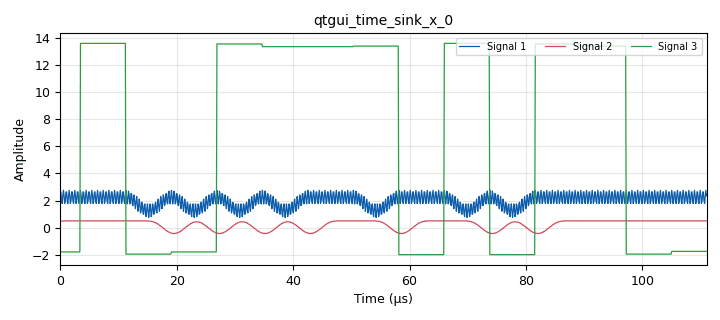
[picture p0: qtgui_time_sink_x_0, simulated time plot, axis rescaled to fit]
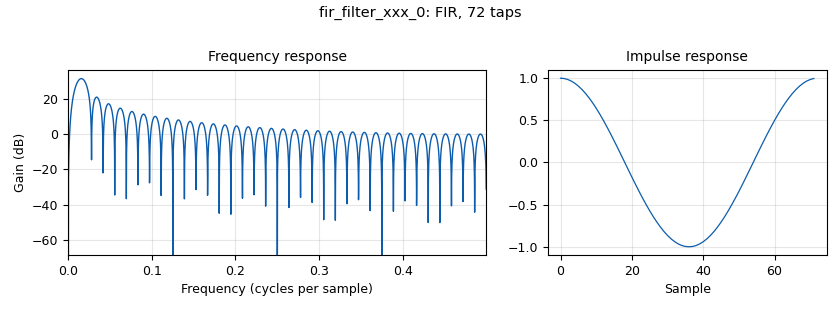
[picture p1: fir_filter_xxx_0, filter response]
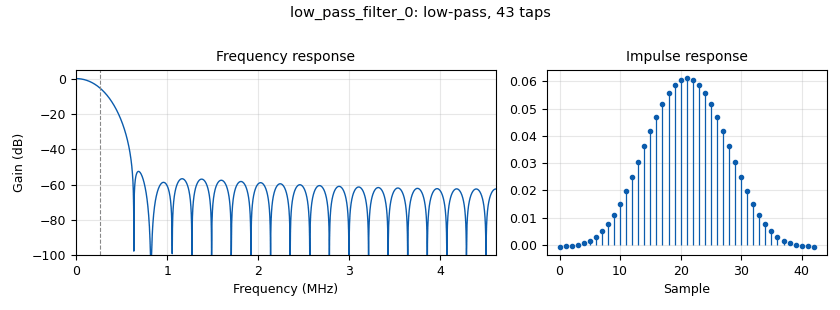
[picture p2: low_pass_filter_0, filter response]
options:
  parameters:
    generate_options: qt_gui
    id: untitled
    output_language: python
    title: Passband spectrum
  states: {}

blocks:
- name: f0
  id: variable
  parameters:
    value: '8'
  states: {}
- name: f1
  id: variable
  parameters:
    value: '9'
  states: {}
- name: samp_rate
  id: variable
  parameters:
    value: '9216000'
  states: {}
- name: analog_random_source_x_0
  id: analog_random_source_x
  parameters:
    max: '2'
    min: '0'
    num_samps: '10000'
    repeat: 'True'
    type: byte
  states: {}
- name: blocks_add_const_vxx_0
  id: blocks_add_const_vxx
  parameters:
    const: '1.75'
    type: float
  states: {}
- name: blocks_add_const_vxx_1
  id: blocks_add_const_vxx
  parameters:
    const: '-1.75'
    type: float
  states: {}
- name: blocks_delay_0
  id: blocks_delay
  parameters:
    delay: '54'
    type: float
  states: {}
- name: blocks_delay_1
  id: blocks_delay
  parameters:
    delay: '19'
    type: float
  states: {}
- name: blocks_multiply_xx_0
  id: blocks_multiply_xx
  parameters:
    type: float
  states: {}
- name: blocks_repeat_0
  id: blocks_repeat
  parameters:
    interp: '72'
    type: float
  states: {}
- name: blocks_throttle2_0
  id: blocks_throttle2
  parameters:
    samples_per_second: samp_rate
    type: float
  states: {}
- name: blocks_vector_source_x_1
  id: blocks_vector_source_x
  parameters:
    repeat: 'True'
    type: float
    vector: np.cos(2*np.pi*np.arange(0,9)/9)
  states: {}
- name: digital_chunks_to_symbols_xx_0
  id: digital_chunks_to_symbols_xx
  parameters:
    dimension: '72'
    in_type: byte
    out_type: float
    symbol_table: ' np.concatenate((np.cos(2*np.pi*f0*np.arange(0,72)/72),np.cos(2*np.pi*f1*np.arange(0,72)/72)))'
  states: {}
- name: fir_filter_xxx_0
  id: fir_filter_xxx
  parameters:
    decim: '72'
    taps: np.cos(2*np.pi*np.arange(0,72)/72)
    type: fff
  states: {}
- name: import_0
  id: import
  parameters:
    imports: import numpy as np
  states: {}
- name: low_pass_filter_0
  id: low_pass_filter
  parameters:
    cutoff_freq: '256000'
    decim: '1'
    gain: '1'
    samp_rate: samp_rate
    type: fir_filter_fff
    width: '512000'
    win: window.WIN_HAMMING
  states: {}
- name: qtgui_time_sink_x_0
  id: qtgui_time_sink_x
  parameters:
    nconnections: '3'
    size: '1024'
    srate: '9216000'
    type: float
  states: {}
- name: virtual_sink_0
  id: virtual_sink
  parameters:
    stream_id: fsktx
  states: {}
- name: virtual_source_0
  id: virtual_source
  parameters:
    stream_id: fsktx
  states: {}

connections:
- [analog_random_source_x_0, '0', digital_chunks_to_symbols_xx_0, '0']
- [blocks_add_const_vxx_0, '0', qtgui_time_sink_x_0, '0']
- [blocks_add_const_vxx_1, '0', qtgui_time_sink_x_0, '2']
- [blocks_delay_0, '0', fir_filter_xxx_0, '0']
- [blocks_delay_1, '0', qtgui_time_sink_x_0, '1']
- [blocks_multiply_xx_0, '0', blocks_add_const_vxx_0, '0']
- [blocks_multiply_xx_0, '0', low_pass_filter_0, '0']
- [blocks_repeat_0, '0', blocks_add_const_vxx_1, '0']
- [blocks_throttle2_0, '0', virtual_sink_0, '0']
- [blocks_vector_source_x_1, '0', blocks_multiply_xx_0, '0']
- [digital_chunks_to_symbols_xx_0, '0', blocks_throttle2_0, '0']
- [fir_filter_xxx_0, '0', blocks_repeat_0, '0']
- [low_pass_filter_0, '0', blocks_delay_0, '0']
- [low_pass_filter_0, '0', blocks_delay_1, '0']
- [virtual_source_0, '0', blocks_multiply_xx_0, '1']

metadata:
  file_format: 1
  grc_version: 3.10.7.0
